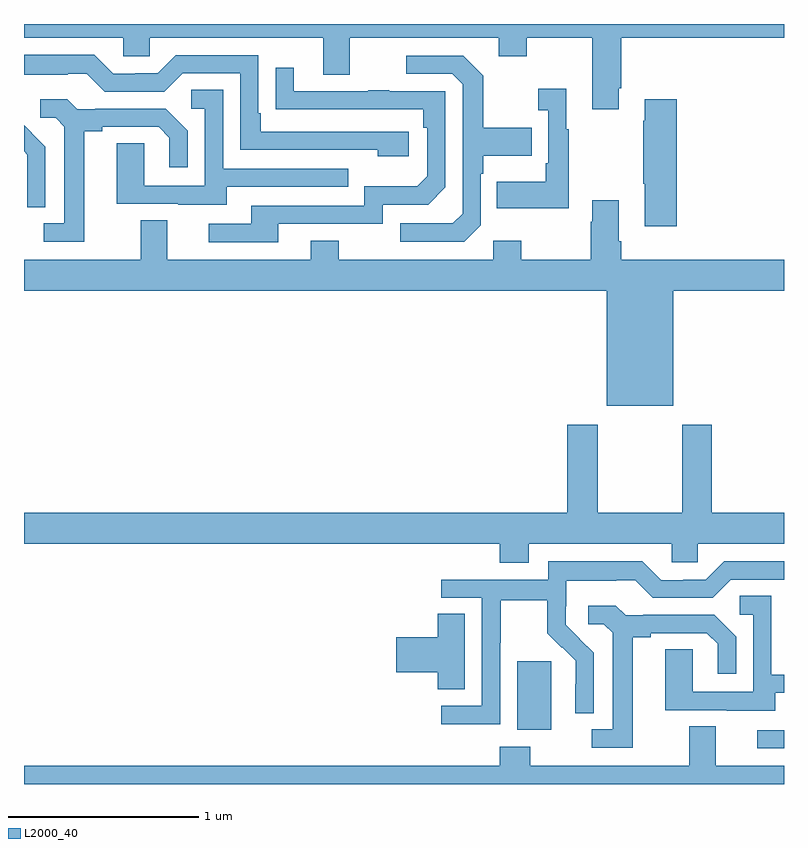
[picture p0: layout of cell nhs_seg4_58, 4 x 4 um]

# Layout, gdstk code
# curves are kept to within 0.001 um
import gdstk
lib = gdstk.Library(unit=1e-6, precision=1e-09)
def R(c, l, rs):  # rectangles x0, y0, x1, y1
    for r in rs: c.add(gdstk.rectangle(r[:2], r[2:], *l))
def P(c, l, *ps):  # polygons
    for p in ps: c.add(gdstk.Polygon(p, *l))
L2000_40 = (2000, 40)

nhs_seg4_58 = lib.new_cell('nhs_seg4_58')
R(nhs_seg4_58, L2000_40, [(116.859,785.088,117,785.184), (115.595,785.186,115.774,785.547)])
P(nhs_seg4_58, L2000_40, [(116.131,788.563),(116.144,788.563),(116.144,788.828),(117,788.828),(117,788.9),(113,788.9),(113,788.828),(113.523,788.828),(113.523,788.73),(113.661,788.73),(113.661,788.828),(114.575,788.828),(114.575,788.634),(114.715,788.634),(114.715,788.828),(115.499,788.828),(115.499,788.729),(115.647,788.729),(115.647,788.828),(115.991,788.828),(115.991,788.451),(116.131,788.451)],
  [(115.024,788.334),(114.247,788.334),(114.247,788.431),(114.234,788.431),(114.234,788.736),(113.799,788.736),(113.703,788.64),(113.585,788.64),(113.585,788.637),(113.469,788.637),(113.369,788.737),(113,788.737),(113,788.633),(113.231,788.633),(113.231,788.637),(113.331,788.637),(113.424,788.544),(113.739,788.544),(113.835,788.64),(114.138,788.64),(114.138,788.238),(114.863,788.238),(114.863,788.204),(115.024,788.204)],
  [(115.404,787.842),(115.404,788.111),(115.417,788.111),(115.417,788.207),(115.673,788.207),(115.673,788.355),(115.417,788.355),(115.417,788.627),(115.311,788.733),(115.011,788.733),(115.011,788.637),(115.254,788.637),(115.308,788.583),(115.308,787.902),(115.257,787.851),(114.981,787.851),(114.981,787.755),(115.317,787.755)],
  [(114.337,787.848),(114.888,787.848),(114.888,787.95),(115.128,787.95),(115.218,788.04),(115.218,788.547),(114.923,788.547),(114.923,788.552),(114.811,788.552),(114.811,788.547),(114.421,788.547),(114.421,788.671),(114.325,788.671),(114.325,788.452),(115.102,788.451),(115.102,788.354),(115.122,788.354),(115.122,788.1),(115.069,788.047),(114.792,788.047),(114.792,787.944),(114.197,787.944),(114.197,787.848),(113.973,787.848),(113.973,787.752),(114.337,787.752)],
  [(115.867,788.347),(115.855,788.347),(115.855,788.56),(115.707,788.56),(115.707,788.447),(115.758,788.447),(115.758,788.167),(115.746,788.167),(115.746,788.071),(115.489,788.071),(115.489,787.931),(115.867,787.931)],
  [(114.067,788.043),(114.707,788.043),(114.707,788.139),(114.048,788.139),(114.048,788.555),(113.88,788.555),(113.88,788.454),(113.952,788.454),(113.952,788.049),(113.634,788.049),(113.634,788.273),(113.489,788.273),(113.489,787.953),(113.813,787.953),(113.813,787.949),(114.067,787.949)],
  [(116.435,788.503),(116.267,788.503),(116.267,788.39),(116.26,788.39),(116.26,788.059),(116.267,788.059),(116.267,787.836),(116.435,787.836)],
  [(113.317,788.336),(113.413,788.336),(113.413,788.358),(113.708,788.358),(113.765,788.301),(113.765,788.145),(113.862,788.145),(113.862,788.338),(113.746,788.454),(113.374,788.454),(113.374,788.451),(113.28,788.451),(113.228,788.503),(113.085,788.503),(113.085,788.406),(113.166,788.406),(113.213,788.359),(113.213,787.851),(113.103,787.851),(113.103,787.755),(113.317,787.755)],
  [(113.112,788.254),(113.039,788.327),(113.04,788.328),(113,788.368),(113,788.231),(113.018,788.213),(113.018,788.09),(113.016,788.09),(113.016,787.936),(113.112,787.936)],
  [(116.416,787.496),(117,787.496),(117,787.66),(116.144,787.66),(116.144,787.756),(116.131,787.756),(116.131,787.972),(115.991,787.972),(115.991,787.859),(115.984,787.859),(115.984,787.66),(115.617,787.66),(115.617,787.759),(115.47,787.759),(115.47,787.66),(114.657,787.66),(114.657,787.759),(114.509,787.759),(114.509,787.66),(113.755,787.66),(113.755,787.868),(113.615,787.868),(113.615,787.66),(113,787.66),(113,787.496),(116.066,787.496),(116.066,786.89),(116.416,786.89)],
  [(115.657,786.164),(116.409,786.164),(116.409,786.066),(116.547,786.066),(116.547,786.164),(117,786.164),(117,786.328),(116.619,786.328),(116.619,786.79),(116.464,786.79),(116.464,786.328),(116.019,786.328),(116.019,786.79),(115.859,786.79),(115.859,786.328),(113,786.328),(113,786.164),(115.505,786.164),(115.505,786.065),(115.657,786.065)],
  [(115.506,785.644),(115.509,785.644),(115.509,785.868),(115.753,785.868),(115.753,785.693),(115.83,785.616),(115.833,785.619),(115.904,785.549),(115.904,785.426),(115.902,785.426),(115.902,785.272),(115.998,785.272),(115.998,785.59),(115.852,785.738),(115.852,785.835),(115.854,785.835),(115.854,785.969),(116.117,785.969),(116.117,785.973),(116.217,785.973),(116.31,785.88),(116.625,785.88),(116.721,785.976),(117,785.976),(117,786.072),(116.685,786.072),(116.589,785.976),(116.471,785.976),(116.471,785.973),(116.355,785.973),(116.255,786.073),(115.758,786.073),(115.758,785.976),(115.197,785.976),(115.197,785.88),(115.41,785.88),(115.41,785.313),(115.197,785.313),(115.197,785.215),(115.506,785.215)],
  [(116.953,785.379),(117,785.379),(117,785.475),(116.934,785.475),(116.934,785.891),(116.766,785.891),(116.766,785.79),(116.838,785.79),(116.838,785.385),(116.52,785.385),(116.52,785.609),(116.375,785.609),(116.375,785.289),(116.699,785.289),(116.699,785.285),(116.953,785.285)],
  [(116.203,785.672),(116.299,785.672),(116.299,785.694),(116.594,785.694),(116.651,785.637),(116.651,785.481),(116.748,785.481),(116.748,785.674),(116.632,785.79),(116.26,785.79),(116.26,785.787),(116.166,785.787),(116.114,785.839),(115.971,785.839),(115.971,785.742),(116.052,785.742),(116.099,785.695),(116.099,785.187),(115.989,785.187),(115.989,785.091),(116.203,785.091)],
  [(115.321,785.795),(115.178,785.795),(115.178,785.672),(114.96,785.672),(114.96,785.489),(115.178,785.489),(115.178,785.398),(115.321,785.398)],
  [(117,784.996),(116.641,784.996),(116.641,785.204),(116.501,785.204),(116.501,784.996),(115.665,784.996),(115.665,785.095),(115.505,785.095),(115.505,784.996),(113,784.996),(113,784.9),(117,784.9)])

lib.write_gds('nhs_seg4_58.gds')
